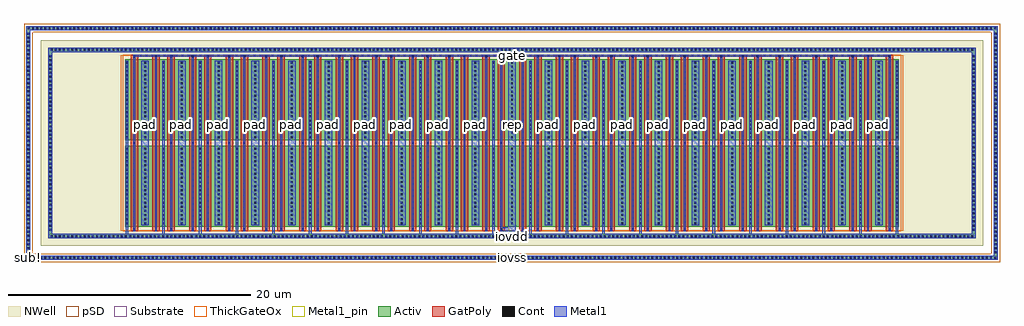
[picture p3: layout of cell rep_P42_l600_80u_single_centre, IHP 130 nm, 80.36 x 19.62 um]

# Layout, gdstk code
import gdstk
lib = gdstk.Library(unit=1e-6, precision=1e-09)
def R(c, l, rs):  # rectangles x0, y0, x1, y1
    for r in rs: c.add(gdstk.rectangle(r[:2], r[2:], *l))
def A(c, l, x, y, w, h, nx, ny, dx, dy):  # array of equal rectangles
    R(c, l, [(x+i*dx, y+j*dy, x+i*dx+w, y+j*dy+h) for i in range(nx) for j in range(ny)])
def P(c, l, *ps):  # polygons
    for p in ps: c.add(gdstk.Polygon(p, *l))
Activ = (1, 0)
GatPoly = (5, 0)
Cont = (6, 0)
Metal1 = (8, 0)
Metal1_pin = (8, 2)
pSD = (14, 0)
NWell = (31, 0)
Substrate = (40, 0)
ThickGateOx = (44, 0)

rep_p42_l600_80u_single_ = lib.new_cell('rep_P42_l600_80u_single_centre')
R(rep_p42_l600_80u_single_, Activ, [(8.14,2.75,71.86,9.41), (8.14,9.85,71.86,16.51)])
P(rep_p42_l600_80u_single_, Activ, [(1.8,1.8),(1.8,17.12),(2.14,17.12),(2.14,2.14),(77.86,2.14),(77.86,17.12),(1.8,17.12),(1.8,17.46),(78.2,17.46),(78.2,1.8)],
  [(0,0),(0,18.92),(0.34,18.92),(0.34,0.34),(79.66,0.34),(79.66,18.92),(0,18.92),(0,19.26),(80,19.26),(80,0)])
R(rep_p42_l600_80u_single_, GatPoly, [(8.61,2.38,9.21,16.88), (10.39,2.38,10.99,16.88), (11.63,2.38,12.23,16.88), (13.41,2.38,14.01,16.88), (14.65,2.38,15.25,16.88), (16.43,2.38,17.03,16.88), (17.67,2.38,18.27,16.88), (19.45,2.38,20.05,16.88), (20.69,2.38,21.29,16.88), (22.47,2.38,23.07,16.88), (23.71,2.38,24.31,16.88), (25.49,2.38,26.09,16.88), (26.73,2.38,27.33,16.88), (28.51,2.38,29.11,16.88), (29.75,2.38,30.35,16.88), (31.53,2.38,32.13,16.88), (32.77,2.38,33.37,16.88), (34.55,2.38,35.15,16.88), (35.79,2.38,36.39,16.88), (37.57,2.38,38.17,16.88), (38.81,2.38,39.41,16.88), (40.59,2.38,41.19,16.88), (41.83,2.38,42.43,16.88), (43.61,2.38,44.21,16.88), (44.85,2.38,45.45,16.88), (46.63,2.38,47.23,16.88), (47.87,2.38,48.47,16.88), (49.65,2.38,50.25,16.88), (50.89,2.38,51.49,16.88), (52.67,2.38,53.27,16.88), (53.91,2.38,54.51,16.88), (55.69,2.38,56.29,16.88), (56.93,2.38,57.53,16.88), (58.71,2.38,59.31,16.88), (59.95,2.38,60.55,16.88), (61.73,2.38,62.33,16.88), (62.97,2.38,63.57,16.88), (64.75,2.38,65.35,16.88), (65.99,2.38,66.59,16.88), (67.77,2.38,68.37,16.88), (69.01,2.38,69.61,16.88), (70.79,2.38,71.39,16.88)])
A(rep_p42_l600_80u_single_, Cont, 0.14, 0.09, 0.16, 0.16, 235, 2, 0.34, 18.92)
A(rep_p42_l600_80u_single_, Cont, 0.09, 0.54, 0.16, 0.16, 1, 54, 0, 0.34)
A(rep_p42_l600_80u_single_, Cont, 79.75, 0.54, 0.16, 0.16, 1, 54, 0, 0.34)
A(rep_p42_l600_80u_single_, Cont, 2.01, 1.89, 0.16, 0.16, 224, 2, 0.34, 15.32)
A(rep_p42_l600_80u_single_, Cont, 1.89, 2.41, 0.16, 0.16, 1, 43, 0, 0.34)
A(rep_p42_l600_80u_single_, Cont, 77.95, 2.41, 0.16, 0.16, 1, 43, 0, 0.34)
A(rep_p42_l600_80u_single_, Cont, 8.83, 2.45, 0.16, 0.16, 1, 3, 0, 7.1)
A(rep_p42_l600_80u_single_, Cont, 10.61, 2.45, 0.16, 0.16, 1, 3, 0, 7.1)
A(rep_p42_l600_80u_single_, Cont, 11.85, 2.45, 0.16, 0.16, 1, 3, 0, 7.1)
A(rep_p42_l600_80u_single_, Cont, 13.63, 2.45, 0.16, 0.16, 1, 3, 0, 7.1)
A(rep_p42_l600_80u_single_, Cont, 14.87, 2.45, 0.16, 0.16, 1, 3, 0, 7.1)
A(rep_p42_l600_80u_single_, Cont, 16.65, 2.45, 0.16, 0.16, 1, 3, 0, 7.1)
A(rep_p42_l600_80u_single_, Cont, 17.89, 2.45, 0.16, 0.16, 1, 3, 0, 7.1)
A(rep_p42_l600_80u_single_, Cont, 19.67, 2.45, 0.16, 0.16, 1, 3, 0, 7.1)
A(rep_p42_l600_80u_single_, Cont, 20.91, 2.45, 0.16, 0.16, 1, 3, 0, 7.1)
A(rep_p42_l600_80u_single_, Cont, 22.69, 2.45, 0.16, 0.16, 1, 3, 0, 7.1)
A(rep_p42_l600_80u_single_, Cont, 23.93, 2.45, 0.16, 0.16, 1, 3, 0, 7.1)
A(rep_p42_l600_80u_single_, Cont, 25.71, 2.45, 0.16, 0.16, 1, 3, 0, 7.1)
A(rep_p42_l600_80u_single_, Cont, 26.95, 2.45, 0.16, 0.16, 1, 3, 0, 7.1)
A(rep_p42_l600_80u_single_, Cont, 28.73, 2.45, 0.16, 0.16, 1, 3, 0, 7.1)
A(rep_p42_l600_80u_single_, Cont, 29.97, 2.45, 0.16, 0.16, 1, 3, 0, 7.1)
A(rep_p42_l600_80u_single_, Cont, 31.75, 2.45, 0.16, 0.16, 1, 3, 0, 7.1)
A(rep_p42_l600_80u_single_, Cont, 32.99, 2.45, 0.16, 0.16, 1, 3, 0, 7.1)
A(rep_p42_l600_80u_single_, Cont, 34.77, 2.45, 0.16, 0.16, 1, 3, 0, 7.1)
A(rep_p42_l600_80u_single_, Cont, 36.01, 2.45, 0.16, 0.16, 1, 3, 0, 7.1)
A(rep_p42_l600_80u_single_, Cont, 37.79, 2.45, 0.16, 0.16, 1, 3, 0, 7.1)
A(rep_p42_l600_80u_single_, Cont, 42.05, 2.45, 0.16, 0.16, 1, 3, 0, 7.1)
A(rep_p42_l600_80u_single_, Cont, 43.83, 2.45, 0.16, 0.16, 1, 3, 0, 7.1)
A(rep_p42_l600_80u_single_, Cont, 45.07, 2.45, 0.16, 0.16, 1, 3, 0, 7.1)
A(rep_p42_l600_80u_single_, Cont, 46.85, 2.45, 0.16, 0.16, 1, 3, 0, 7.1)
A(rep_p42_l600_80u_single_, Cont, 48.09, 2.45, 0.16, 0.16, 1, 3, 0, 7.1)
A(rep_p42_l600_80u_single_, Cont, 49.87, 2.45, 0.16, 0.16, 1, 3, 0, 7.1)
A(rep_p42_l600_80u_single_, Cont, 51.11, 2.45, 0.16, 0.16, 1, 3, 0, 7.1)
A(rep_p42_l600_80u_single_, Cont, 52.89, 2.45, 0.16, 0.16, 1, 3, 0, 7.1)
A(rep_p42_l600_80u_single_, Cont, 54.13, 2.45, 0.16, 0.16, 1, 3, 0, 7.1)
A(rep_p42_l600_80u_single_, Cont, 55.91, 2.45, 0.16, 0.16, 1, 3, 0, 7.1)
A(rep_p42_l600_80u_single_, Cont, 57.15, 2.45, 0.16, 0.16, 1, 3, 0, 7.1)
A(rep_p42_l600_80u_single_, Cont, 58.93, 2.45, 0.16, 0.16, 1, 3, 0, 7.1)
A(rep_p42_l600_80u_single_, Cont, 60.17, 2.45, 0.16, 0.16, 1, 3, 0, 7.1)
A(rep_p42_l600_80u_single_, Cont, 61.95, 2.45, 0.16, 0.16, 1, 3, 0, 7.1)
A(rep_p42_l600_80u_single_, Cont, 63.19, 2.45, 0.16, 0.16, 1, 3, 0, 7.1)
A(rep_p42_l600_80u_single_, Cont, 64.97, 2.45, 0.16, 0.16, 1, 3, 0, 7.1)
A(rep_p42_l600_80u_single_, Cont, 66.21, 2.45, 0.16, 0.16, 1, 3, 0, 7.1)
A(rep_p42_l600_80u_single_, Cont, 67.99, 2.45, 0.16, 0.16, 1, 3, 0, 7.1)
A(rep_p42_l600_80u_single_, Cont, 69.23, 2.45, 0.16, 0.16, 1, 3, 0, 7.1)
A(rep_p42_l600_80u_single_, Cont, 71.01, 2.45, 0.16, 0.16, 1, 3, 0, 7.1)
A(rep_p42_l600_80u_single_, Cont, 8.21, 2.94, 0.16, 0.16, 43, 19, 1.51, 0.34)
A(rep_p42_l600_80u_single_, Cont, 8.21, 10.04, 0.16, 0.16, 43, 19, 1.51, 0.34)
R(rep_p42_l600_80u_single_, Cont, [(39.03,2.45,39.19,2.61), (40.81,2.45,40.97,2.61), (39.03,9.55,39.19,9.71), (40.81,9.55,40.97,9.71)])
A(rep_p42_l600_80u_single_, Metal1, 8.185, 1.8, 0.21, 14.6, 22, 1, 3.02, 0)
A(rep_p42_l600_80u_single_, Metal1, 9.49, 2.86, 0.62, 13.54, 10, 1, 3.02, 0)
A(rep_p42_l600_80u_single_, Metal1, 42.71, 2.86, 0.62, 13.54, 10, 1, 3.02, 0)
R(rep_p42_l600_80u_single_, Metal1, [(40.81,1.8,40.97,16.51), (8.83,2.37,8.99,16.73), (10.61,2.37,10.77,16.73), (11.85,2.37,12.01,16.73), (13.63,2.37,13.79,16.73), (14.87,2.37,15.03,16.73), (16.65,2.37,16.81,16.73), (17.89,2.37,18.05,16.73), (19.67,2.37,19.83,16.73), (20.91,2.37,21.07,16.73), (22.69,2.37,22.85,16.73), (23.93,2.37,24.09,16.73), (25.71,2.37,25.87,16.73), (26.95,2.37,27.11,16.73), (28.73,2.37,28.89,16.73), (29.97,2.37,30.13,16.73), (31.75,2.37,31.91,16.73), (32.99,2.37,33.15,16.73), (34.77,2.37,34.93,16.73), (36.01,2.37,36.17,16.73), (37.79,2.37,37.95,16.73), (39.03,2.37,39.19,16.51), (39.03,2.37,40.31,2.69), (39.69,2.37,40.31,16.4), (42.05,2.37,42.21,16.73), (43.83,2.37,43.99,16.73), (45.07,2.37,45.23,16.73), (46.85,2.37,47.01,16.73), (48.09,2.37,48.25,16.73), (49.87,2.37,50.03,16.73), (51.11,2.37,51.27,16.73), (52.89,2.37,53.05,16.73), (54.13,2.37,54.29,16.73), (55.91,2.37,56.07,16.73), (57.15,2.37,57.31,16.73), (58.93,2.37,59.09,16.73), (60.17,2.37,60.33,16.73), (61.95,2.37,62.11,16.73), (63.19,2.37,63.35,16.73), (64.97,2.37,65.13,16.73), (66.21,2.37,66.37,16.73), (67.99,2.37,68.15,16.73), (69.23,2.37,69.39,16.73), (71.01,2.37,71.17,16.73), (8.83,16.73,71.17,16.89)])
P(rep_p42_l600_80u_single_, Metal1, [(1.8,1.8),(1.8,17.12),(2.14,17.12),(2.14,2.14),(77.86,2.14),(77.86,17.12),(1.8,17.12),(1.8,17.46),(78.2,17.46),(78.2,1.8)],
  [(0,0),(0,18.92),(0.34,18.92),(0.34,0.34),(79.66,0.34),(79.66,18.92),(0,18.92),(0,19.26),(80,19.26),(80,0)])
A(rep_p42_l600_80u_single_, Metal1_pin, 9.49, 2.86, 0.62, 13.54, 10, 1, 3.02, 0)
A(rep_p42_l600_80u_single_, Metal1_pin, 42.71, 2.86, 0.62, 13.54, 10, 1, 3.02, 0)
R(rep_p42_l600_80u_single_, Metal1_pin, [(0,0,80,0.34), (1.8,1.8,78.2,2.14), (39.69,2.37,40.31,16.4), (8.83,16.73,71.17,16.89)])
R(rep_p42_l600_80u_single_, pSD, [(7.96,2.35,72.04,16.91)])
P(rep_p42_l600_80u_single_, pSD, [(-0.18,-0.18),(-0.18,18.74),(0.52,18.74),(0.52,0.52),(79.48,0.52),(79.48,18.74),(-0.18,18.74),(-0.18,19.44),(80.18,19.44),(80.18,-0.18)])
R(rep_p42_l600_80u_single_, NWell, [(1.18,1.18,78.82,18.08), (7.52,2.13,72.48,17.13)])
P(rep_p42_l600_80u_single_, Substrate, [(0,0),(0,18.92),(0.34,18.92),(0.34,0.34),(79.66,0.34),(79.66,18.92),(0,18.92),(0,19.26),(80,19.26),(80,0)])
R(rep_p42_l600_80u_single_, ThickGateOx, [(7.8,2.41,72.2,16.85)])
rep_p42_l600_80u_single_.add(gdstk.Label('pad', (9.8,11.163), layer=8, texttype=25))
rep_p42_l600_80u_single_.add(gdstk.Label('pad', (12.82,11.163), layer=8, texttype=25))
rep_p42_l600_80u_single_.add(gdstk.Label('pad', (15.84,11.163), layer=8, texttype=25))
rep_p42_l600_80u_single_.add(gdstk.Label('pad', (18.86,11.163), layer=8, texttype=25))
rep_p42_l600_80u_single_.add(gdstk.Label('pad', (21.88,11.163), layer=8, texttype=25))
rep_p42_l600_80u_single_.add(gdstk.Label('pad', (24.9,11.163), layer=8, texttype=25))
rep_p42_l600_80u_single_.add(gdstk.Label('pad', (27.92,11.163), layer=8, texttype=25))
rep_p42_l600_80u_single_.add(gdstk.Label('pad', (30.94,11.163), layer=8, texttype=25))
rep_p42_l600_80u_single_.add(gdstk.Label('pad', (33.96,11.163), layer=8, texttype=25))
rep_p42_l600_80u_single_.add(gdstk.Label('pad', (36.98,11.163), layer=8, texttype=25))
rep_p42_l600_80u_single_.add(gdstk.Label('rep', (40,11.163), layer=8, texttype=25))
rep_p42_l600_80u_single_.add(gdstk.Label('pad', (43.02,11.163), layer=8, texttype=25))
rep_p42_l600_80u_single_.add(gdstk.Label('pad', (46.04,11.163), layer=8, texttype=25))
rep_p42_l600_80u_single_.add(gdstk.Label('pad', (49.06,11.163), layer=8, texttype=25))
rep_p42_l600_80u_single_.add(gdstk.Label('pad', (52.08,11.163), layer=8, texttype=25))
rep_p42_l600_80u_single_.add(gdstk.Label('pad', (55.1,11.163), layer=8, texttype=25))
rep_p42_l600_80u_single_.add(gdstk.Label('pad', (58.12,11.163), layer=8, texttype=25))
rep_p42_l600_80u_single_.add(gdstk.Label('pad', (61.14,11.163), layer=8, texttype=25))
rep_p42_l600_80u_single_.add(gdstk.Label('pad', (64.16,11.163), layer=8, texttype=25))
rep_p42_l600_80u_single_.add(gdstk.Label('pad', (67.18,11.163), layer=8, texttype=25))
rep_p42_l600_80u_single_.add(gdstk.Label('pad', (70.2,11.163), layer=8, texttype=25))
rep_p42_l600_80u_single_.add(gdstk.Label('gate', (40,16.81), layer=8, texttype=25))
rep_p42_l600_80u_single_.add(gdstk.Label('iovdd', (40,1.97), layer=8, texttype=25))
rep_p42_l600_80u_single_.add(gdstk.Label('iovss', (40,0.17), layer=8, texttype=25))
rep_p42_l600_80u_single_.add(gdstk.Label('sub!', (0.17,0.17), layer=63, texttype=0))

lib.write_gds('rep_P42_l600_80u_single_centre.gds')
